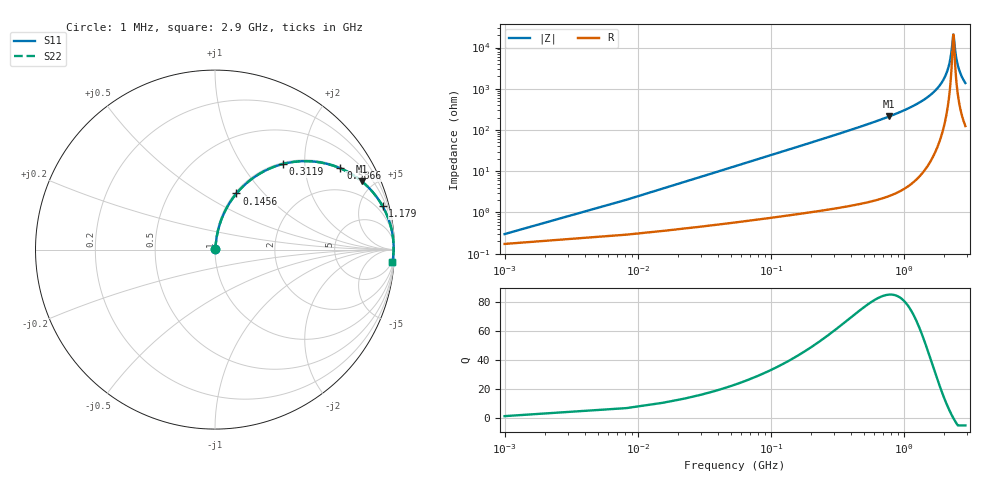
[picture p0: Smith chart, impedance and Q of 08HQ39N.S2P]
! Coilcraft 0805HQ-39N Chip Inductor
! 19 June 2002
# MHZ S MA R 50
!Freq  MagS11  AngS11  MagS21  AngS21  MagS12  AngS12  MagS22  AngS22
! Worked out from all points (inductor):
!   402 points, 1 MHz to 2.9 GHz, reference 50 ohm
!   read as one part in series: L = 39 nH near 15.46 MHz
!   highest Q = 85.1 at 774.6 MHz (marker M1), where L = 43.7 nH
!   self-resonance near 2.351 GHz
!   S11 on the Smith chart (normalised r, x): 1 MHz: 1.00, +0.00; 145.6 MHz: 1.02, +0.72; 311.9 MHz: 1.03, +1.56; 586.6 MHz: 1.04, +3.06; 1.179 GHz: 1.11, +7.71; 2.9 GHz: 3, -27
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1  0.002994 54.7  0.9983 -0.1  0.9983 -0.1  0.002994 54.7
22.69  0.05544 82.6  0.9944 -3.2  0.9944 -3.2  0.05544 82.6
37.15  0.09037 81.7  0.991 -5.2  0.991 -5.2  0.09037 81.7
80.53  0.1927 76.9  0.9747 -11.1  0.9747 -11.1  0.1927 76.9
145.6  0.3347 69.1  0.9342 -19.5  0.9342 -19.5  0.3347 69.1
311.89  0.6093 51.5  0.7831 -37.5  0.7831 -37.5  0.6093 51.5
485.41  0.774 38.5  0.623 -50.7  0.623 -50.7  0.774 38.5
586.63  0.8328 32.9  0.5434 -56.4  0.5434 -56.4  0.8328 32.9
774.61  0.901 25.0  0.4234 -64.3  0.4234 -64.3  0.901 25.0
969.82  0.9404 19.2  0.3287 -70.1  0.3287 -70.1  0.9404 19.2
1179.49  0.9647 14.5  0.2501 -74.7  0.2501 -74.7  0.9647 14.5
1454.23  0.982 9.8  0.1706 -79.1  0.1706 -79.1  0.982 9.8
1938.64  0.9939 3.9  0.06772 -82.9  0.06772 -82.9  0.9939 3.9
2090.47  0.995 2.4  0.04159 -81.9  0.04159 -81.9  0.995 2.4
2198.92  0.9953 1.4  0.02429 -78.2  0.02429 -78.2  0.9953 1.4
2271.22  0.9954 0.7  0.01352 -69.5  0.01352 -69.5  0.9954 0.7
2350.75  0.9952 0.0  0.004854 -10.2  0.004854 -10.2  0.9952 0.0
2372.44  0.9952 -0.1  0.005353 25.3  0.005353 25.3  0.9952 -0.1
2423.05  0.995 -0.5  0.01078 62.0  0.01078 62.0  0.995 -0.5
2495.35  0.9946 -1.1  0.02037 74.1  0.02037 74.1  0.9946 -1.1
2589.34  0.994 -1.9  0.0329 78.6  0.0329 78.6  0.994 -1.9
2900  0.9909 -4.1  0.07195 80.7  0.07195 80.7  0.9909 -4.1
